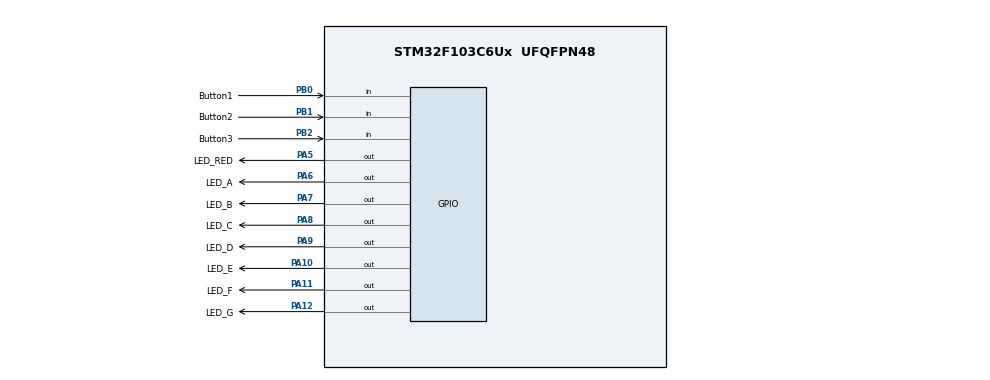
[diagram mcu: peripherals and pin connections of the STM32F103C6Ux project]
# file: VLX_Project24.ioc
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Mcu.Family=STM32F1
Mcu.Name=STM32F103C6Ux
Mcu.Package=UFQFPN48
NVIC.PriorityGroup=NVIC_PRIORITYGROUP_4
NVIC.TIM2_IRQn=true\:0\:0\:false\:false\:true\:true\:true
PA10.GPIO_Label=LED_E
PA10.Signal=GPIO_Output
PA11.GPIO_Label=LED_F
PA11.Signal=GPIO_Output
PA12.GPIO_Label=LED_G
PA12.Signal=GPIO_Output
PA5.GPIO_Label=LED_RED
PA5.Signal=GPIO_Output
PA6.GPIO_Label=LED_A
PA6.Signal=GPIO_Output
PA7.GPIO_Label=LED_B
PA7.Signal=GPIO_Output
PA8.GPIO_Label=LED_C
PA8.Signal=GPIO_Output
PA9.GPIO_Label=LED_D
PA9.Signal=GPIO_Output
PB0.GPIO_Label=Button1
PB0.GPIO_PuPd=GPIO_PULLUP
PB0.Signal=GPIO_Input
PB1.GPIO_Label=Button2
PB1.GPIO_PuPd=GPIO_PULLUP
PB1.Signal=GPIO_Input
PB2.GPIO_Label=Button3
PB2.GPIO_PuPd=GPIO_PULLUP
PB2.Signal=GPIO_Input
ProjectManager.HeapSize=0x200
ProjectManager.StackSize=0x400
ProjectManager.TargetToolchain=STM32CubeIDE
RCC.APB1Freq_Value=8000000
RCC.APB2Freq_Value=8000000
TIM2.Period=10
TIM2.Prescaler=7999
VP_SYS_VS_ND.Mode=No_Debug
VP_TIM2_VS_ClockSourceINT.Mode=Internal
board=custom

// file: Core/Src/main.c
/* USER CODE BEGIN Header */
/**
  ******************************************************************************
  * @file           : main.c
  * @brief          : Main program body
  ******************************************************************************
  * @attention
  *
  * <h2><center>&copy; Copyright (c) 2022 STMicroelectronics.
  * All rights reserved.</center></h2>
  *
  * This software component is licensed by ST under BSD 3-Clause license,
  * the "License"; You may not use this file except in compliance with the
  * License. You may obtain a copy of the License at:
  *                        opensource.org/licenses/BSD-3-Clause
  *
  ******************************************************************************
  */
/* USER CODE END Header */
#include "main.h"

/* USER CODE BEGIN Includes */
#include "button1.h"
#include "button2.h"
#include "button3.h"
#include "display7SEG.h"
#include "software_timer.h"
#include "global.h"
#include "fsm.h"
/* USER CODE END Includes */

TIM_HandleTypeDef htim2;

void SystemClock_Config(void);
static void MX_GPIO_Init(void);
static void MX_TIM2_Init(void);

int main(void)
{

  /* MCU Configuration--------------------------------------------------------*/

  /* Reset of all peripherals, Initializes the Flash interface and the Systick. */
  HAL_Init();

  /* Configure the system clock */
  SystemClock_Config();

  /* Initialize all configured peripherals */
  MX_GPIO_Init();
  MX_TIM2_Init();
  /* USER CODE BEGIN 2 */
  HAL_TIM_Base_Start_IT(&htim2);
  /* USER CODE END 2 */

  /* Infinite loop */
  /* USER CODE BEGIN WHILE */
  setTimer1(100);
  setTimer2(100);
  setTimer3(100);
  setTimer4(100);
  setTimer5(1000);
  while (1)
  {
	  if(timer4_flag == 1){
		  setTimer4(100);
		  HAL_GPIO_TogglePin(LED_RED_GPIO_Port, LED_RED_Pin);
	  }
	  display7SEG(counter);
    /* USER CODE END WHILE */

  }
}

void SystemClock_Config(void)
{
  RCC_OscInitTypeDef RCC_OscInitStruct = {0};
  RCC_ClkInitTypeDef RCC_ClkInitStruct = {0};

  /** Initializes the RCC Oscillators according to the specified parameters
  * in the RCC_OscInitTypeDef structure.
  */
  RCC_OscInitStruct.OscillatorType = RCC_OSCILLATORTYPE_HSI;
  RCC_OscInitStruct.HSIState = RCC_HSI_ON;
  RCC_OscInitStruct.HSICalibrationValue = RCC_HSICALIBRATION_DEFAULT;
  RCC_OscInitStruct.PLL.PLLState = RCC_PLL_NONE;
  if (HAL_RCC_OscConfig(&RCC_OscInitStruct) != HAL_OK)
  {
    Error_Handler();
  }
  /** Initializes the CPU, AHB and APB buses clocks
  */
  RCC_ClkInitStruct.ClockType = RCC_CLOCKTYPE_HCLK|RCC_CLOCKTYPE_SYSCLK
                              |RCC_CLOCKTYPE_PCLK1|RCC_CLOCKTYPE_PCLK2;
  RCC_ClkInitStruct.SYSCLKSource = RCC_SYSCLKSOURCE_HSI;
  RCC_ClkInitStruct.AHBCLKDivider = RCC_SYSCLK_DIV1;
  RCC_ClkInitStruct.APB1CLKDivider = RCC_HCLK_DIV1;
  RCC_ClkInitStruct.APB2CLKDivider = RCC_HCLK_DIV1;

  if (HAL_RCC_ClockConfig(&RCC_ClkInitStruct, FLASH_LATENCY_0) != HAL_OK)
  {
    Error_Handler();
  }
}

static void MX_TIM2_Init(void)
{

  TIM_ClockConfigTypeDef sClockSourceConfig = {0};
  TIM_MasterConfigTypeDef sMasterConfig = {0};

  htim2.Instance = TIM2;
  htim2.Init.Prescaler = 7999;
  htim2.Init.CounterMode = TIM_COUNTERMODE_UP;
  htim2.Init.Period = 10;
  htim2.Init.ClockDivision = TIM_CLOCKDIVISION_DIV1;
  htim2.Init.AutoReloadPreload = TIM_AUTORELOAD_PRELOAD_DISABLE;
  if (HAL_TIM_Base_Init(&htim2) != HAL_OK)
  {
    Error_Handler();
  }
  sClockSourceConfig.ClockSource = TIM_CLOCKSOURCE_INTERNAL;
  if (HAL_TIM_ConfigClockSource(&htim2, &sClockSourceConfig) != HAL_OK)
  {
    Error_Handler();
  }
  sMasterConfig.MasterOutputTrigger = TIM_TRGO_RESET;
  sMasterConfig.MasterSlaveMode = TIM_MASTERSLAVEMODE_DISABLE;
  if (HAL_TIMEx_MasterConfigSynchronization(&htim2, &sMasterConfig) != HAL_OK)
  {
    Error_Handler();
  }

}

static void MX_GPIO_Init(void)
{
  GPIO_InitTypeDef GPIO_InitStruct = {0};

  /* GPIO Ports Clock Enable */
  __HAL_RCC_GPIOA_CLK_ENABLE();
  __HAL_RCC_GPIOB_CLK_ENABLE();

  /*Configure GPIO pin Output Level */
  HAL_GPIO_WritePin(GPIOA, LED_RED_Pin|LED_A_Pin|LED_B_Pin|LED_C_Pin
                          |LED_D_Pin|LED_E_Pin|LED_F_Pin|LED_G_Pin, GPIO_PIN_RESET);

  /*Configure GPIO pins : LED_RED_Pin LED_A_Pin LED_B_Pin LED_C_Pin
                           LED_D_Pin LED_E_Pin LED_F_Pin LED_G_Pin */
  GPIO_InitStruct.Pin = LED_RED_Pin|LED_A_Pin|LED_B_Pin|LED_C_Pin
                          |LED_D_Pin|LED_E_Pin|LED_F_Pin|LED_G_Pin;
  GPIO_InitStruct.Mode = GPIO_MODE_OUTPUT_PP;
  GPIO_InitStruct.Pull = GPIO_NOPULL;
  GPIO_InitStruct.Speed = GPIO_SPEED_FREQ_LOW;
  HAL_GPIO_Init(GPIOA, &GPIO_InitStruct);

  /*Configure GPIO pins : Button1_Pin Button2_Pin Button3_Pin */
  GPIO_InitStruct.Pin = Button1_Pin|Button2_Pin|Button3_Pin;
  GPIO_InitStruct.Mode = GPIO_MODE_INPUT;
  GPIO_InitStruct.Pull = GPIO_PULLUP;
  HAL_GPIO_Init(GPIOB, &GPIO_InitStruct);

}

/* USER CODE BEGIN 4 */
void HAL_TIM_PeriodElapsedCallback(TIM_HandleTypeDef *htim){
	getKeyInput();
	getKeyInput2();
	getKeyInput3();
	fsm_simple_buttons_run();
	timer_run();
	timer_run2();
	timer_run3();
	timer_run4();
}
/* USER CODE END 4 */

void Error_Handler(void)
{
  __disable_irq();
  while (1)
  {
  }
}

/************************ (C) COPYRIGHT STMicroelectronics *****END OF FILE****/
